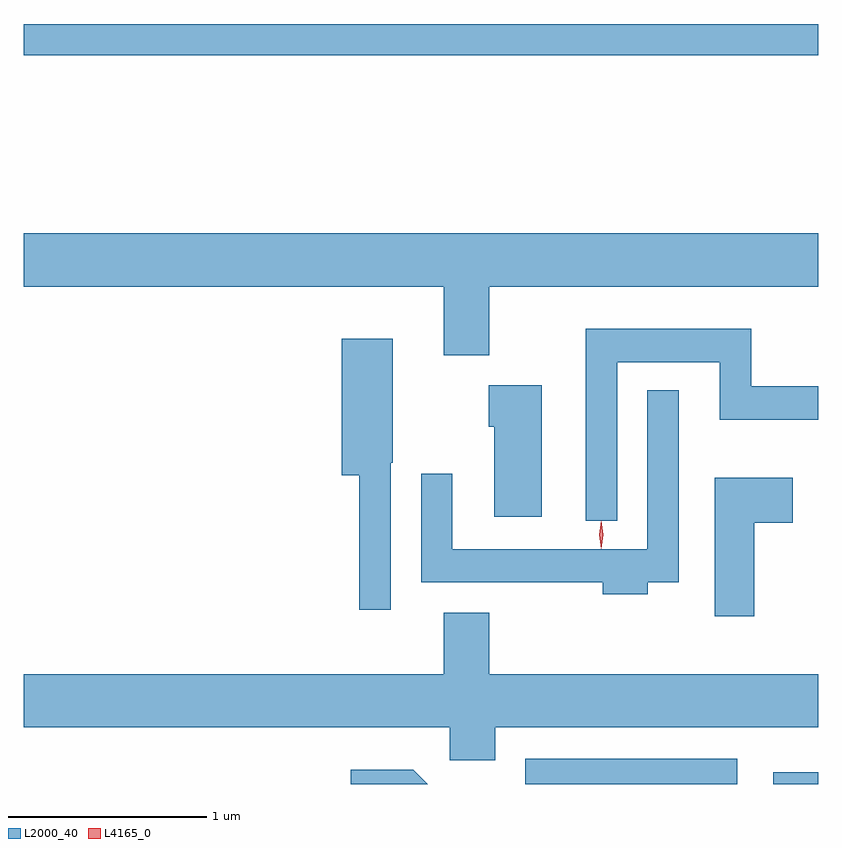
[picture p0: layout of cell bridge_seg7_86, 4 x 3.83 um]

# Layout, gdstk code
import gdstk
lib = gdstk.Library(unit=1e-6, precision=1e-09)
def R(c, l, rs):  # rectangles x0, y0, x1, y1
    for r in rs: c.add(gdstk.rectangle(r[:2], r[2:], *l))
def P(c, l, *ps):  # polygons
    for p in ps: c.add(gdstk.Polygon(p, *l))
L2000_40 = (2000, 40)
L4165_0 = (4165, 0)

bridge_seg7_86 = lib.new_cell('bridge_seg7_86')
R(bridge_seg7_86, L2000_40, [(1610.351,1791.731,1611.419,1791.859), (1611.601,1791.731,1611.826,1791.789), (1607.826,1795.401,1611.826,1795.559)])
P(bridge_seg7_86, L2000_40, [(1610.169,1794.236),(1611.826,1794.236),(1611.826,1794.504),(1607.826,1794.504),(1607.826,1794.236),(1609.941,1794.236),(1609.941,1793.891),(1610.169,1793.891)],
  [(1610.814,1793.856),(1611.331,1793.856),(1611.331,1793.566),(1611.826,1793.566),(1611.826,1793.734),(1611.489,1793.734),(1611.489,1794.024),(1610.656,1794.024),(1610.656,1793.058),(1610.814,1793.058)],
  [(1609.674,1793.35),(1609.684,1793.35),(1609.684,1793.974),(1609.426,1793.974),(1609.426,1793.286),(1609.516,1793.286),(1609.516,1792.608),(1609.674,1792.608)],
  [(1610.434,1793.739),(1610.166,1793.739),(1610.166,1793.531),(1610.196,1793.531),(1610.196,1793.076),(1610.434,1793.076)],
  [(1610.969,1792.746),(1611.124,1792.746),(1611.124,1793.713),(1610.966,1793.713),(1610.966,1792.914),(1609.984,1792.914),(1609.984,1793.293),(1609.826,1793.293),(1609.826,1792.746),(1610.741,1792.746),(1610.741,1792.686),(1610.969,1792.686)],
  [(1611.504,1793.046),(1611.699,1793.046),(1611.699,1793.274),(1611.306,1793.274),(1611.306,1792.576),(1611.504,1792.576)],
  [(1610.199,1792.016),(1611.826,1792.016),(1611.826,1792.284),(1610.169,1792.284),(1610.169,1792.594),(1609.941,1792.594),(1609.941,1792.284),(1607.826,1792.284),(1607.826,1792.016),(1609.971,1792.016),(1609.971,1791.851),(1610.199,1791.851)],
  [(1609.787,1791.804),(1609.473,1791.804),(1609.473,1791.731),(1609.86,1791.731)])
P(bridge_seg7_86, L4165_0, [(1610.734,1792.917),(1610.734,1792.917),(1610.724,1792.986),(1610.734,1793.056),(1610.734,1793.056),(1610.735,1793.056),(1610.744,1792.986),(1610.735,1792.917)],
  [(1610.735,1792.919),(1610.734,1792.92),(1610.725,1792.986),(1610.734,1793.052),(1610.735,1793.053),(1610.735,1793.052),(1610.745,1792.986),(1610.735,1792.92)])

lib.write_gds('bridge_seg7_86.gds')
